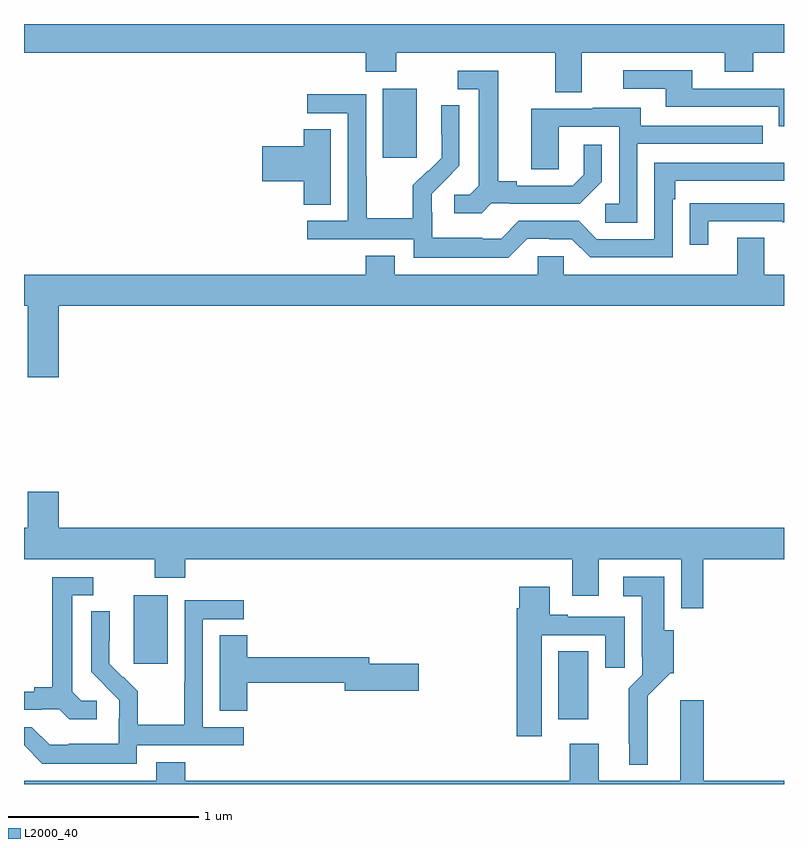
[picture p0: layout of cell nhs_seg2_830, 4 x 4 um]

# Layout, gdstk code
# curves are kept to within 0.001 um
import gdstk
lib = gdstk.Library(unit=1e-6, precision=1e-09)
def R(c, l, rs):  # rectangles x0, y0, x1, y1
    for r in rs: c.add(gdstk.rectangle(r[:2], r[2:], *l))
def P(c, l, *ps):  # polygons
    for p in ps: c.add(gdstk.Polygon(p, *l))
L2000_40 = (2000, 40)

nhs_seg2_830 = lib.new_cell('nhs_seg2_830')
R(nhs_seg2_830, L2000_40, [(155.813,632.142,155.971,632.498), (153.578,632.433,153.757,632.794), (154.889,635.097,155.068,635.458)])
P(nhs_seg2_830, L2000_40, [(155.935,635.648),(156.689,635.648),(156.689,635.549),(156.837,635.549),(156.837,635.648),(157,635.648),(157,635.8),(153,635.8),(153,635.648),(154.799,635.648),(154.799,635.549),(154.959,635.549),(154.959,635.648),(155.795,635.648),(155.795,635.44),(155.935,635.44)],
  [(157,635.46),(156.517,635.46),(156.517,635.556),(156.153,635.556),(156.153,635.46),(156.377,635.46),(156.377,635.364),(156.972,635.364),(156.972,635.261),(157,635.261)],
  [(155.46,634.857),(155.554,634.857),(155.554,634.854),(155.926,634.854),(156.042,634.97),(156.042,635.164),(155.945,635.164),(155.945,635.007),(155.888,634.95),(155.593,634.95),(155.593,634.973),(155.497,634.973),(155.497,635.553),(155.283,635.553),(155.283,635.457),(155.393,635.457),(155.393,634.949),(155.346,634.902),(155.265,634.902),(155.265,634.805),(155.408,634.805)],
  [(155.649,634.671),(155.765,634.671),(155.765,634.668),(155.883,634.668),(155.979,634.572),(156.414,634.572),(156.414,634.877),(156.427,634.877),(156.427,634.974),(157,634.974),(157,635.07),(156.318,635.07),(156.318,634.668),(156.015,634.668),(155.919,634.764),(155.604,634.764),(155.511,634.671),(155.411,634.671),(155.411,634.675),(155.148,634.675),(155.148,634.809),(155.146,634.809),(155.146,634.906),(155.292,635.054),(155.292,635.372),(155.196,635.372),(155.196,635.218),(155.198,635.218),(155.198,635.096),(155.127,635.025),(155.124,635.028),(155.047,634.951),(155.047,634.777),(154.803,634.777),(154.803,635),(154.8,635),(154.8,635.43),(154.491,635.43),(154.491,635.331),(154.704,635.331),(154.704,634.764),(154.491,634.764),(154.491,634.668),(155.052,634.668),(155.052,634.571),(155.549,634.571)],
  [(156.228,635.169),(156.887,635.169),(156.887,635.265),(156.247,635.265),(156.247,635.359),(155.993,635.359),(155.993,635.355),(155.669,635.355),(155.669,635.035),(155.814,635.035),(155.814,635.259),(156.132,635.259),(156.132,634.854),(156.06,634.854),(156.06,634.753),(156.228,634.753)],
  [(154.615,635.246),(154.472,635.246),(154.472,635.156),(154.254,635.156),(154.254,634.973),(154.472,634.973),(154.472,634.849),(154.615,634.849)],
  [(156.601,634.761),(156.991,634.761),(156.991,634.756),(157,634.756),(157,634.857),(156.607,634.857),(156.607,634.856),(156.505,634.856),(156.505,634.638),(156.601,634.638)],
  [(153.184,634.316),(157,634.316),(157,634.48),(156.895,634.48),(156.895,634.675),(156.755,634.675),(156.755,634.48),(155.841,634.48),(155.841,634.578),(155.703,634.578),(155.703,634.48),(154.951,634.48),(154.951,634.579),(154.799,634.579),(154.799,634.48),(153,634.48),(153,634.316),(153.02,634.316),(153.02,633.942),(153.184,633.942)],
  [(156.575,632.984),(157,632.984),(157,633.148),(153.184,633.148),(153.184,633.337),(153.02,633.337),(153.02,633.148),(153,633.148),(153,632.984),(153.688,632.984),(153.688,632.885),(153.848,632.885),(153.848,632.984),(155.885,632.984),(155.885,632.79),(156.025,632.79),(156.025,632.984),(156.459,632.984),(156.459,632.724),(156.575,632.724)],
  [(156.283,632.264),(156.401,632.382),(156.421,632.382),(156.421,632.61),(156.37,632.61),(156.37,632.89),(156.153,632.89),(156.153,632.789),(156.251,632.789),(156.251,632.47),(156.255,632.47),(156.255,632.376),(156.182,632.303),(156.182,632.011),(156.185,632.011),(156.185,631.901),(156.283,631.901)],
  [(153.382,632.238),(153.3,632.238),(153.253,632.285),(153.253,632.793),(153.364,632.793),(153.364,632.889),(153.149,632.889),(153.149,632.309),(153.053,632.309),(153.053,632.286),(153,632.286),(153,632.19),(153.092,632.19),(153.092,632.193),(153.186,632.193),(153.238,632.141),(153.382,632.141)],
  [(155.725,632.583),(156.059,632.583),(156.059,632.412),(156.163,632.412),(156.163,632.679),(155.863,632.679),(155.863,632.692),(155.767,632.692),(155.767,632.839),(155.606,632.839),(155.606,632.726),(155.594,632.726),(155.594,632.052),(155.725,632.052)],
  [(153.594,632.004),(154.156,632.004),(154.156,632.1),(153.942,632.1),(153.942,632.667),(154.156,632.667),(154.156,632.766),(153.846,632.766),(153.846,632.336),(153.844,632.336),(153.844,632.113),(153.599,632.113),(153.599,632.287),(153.522,632.364),(153.519,632.361),(153.449,632.432),(153.45,632.708),(153.354,632.708),(153.354,632.39),(153.5,632.242),(153.5,632.145),(153.498,632.145),(153.498,632.011),(153.235,632.011),(153.235,632.007),(153.135,632.007),(153.042,632.1),(153,632.1),(153,632.004),(153.097,631.907),(153.594,631.907)],
  [(154.175,632.332),(154.688,632.332),(154.688,632.29),(155.077,632.29),(155.077,632.432),(154.816,632.432),(154.816,632.468),(154.175,632.468),(154.175,632.582),(154.031,632.582),(154.031,632.185),(154.175,632.185)],
  [(157,631.816),(156.578,631.816),(156.578,632.242),(156.455,632.242),(156.455,631.816),(156.025,631.816),(156.025,632.011),(155.873,632.011),(155.873,631.816),(153.848,631.816),(153.848,631.915),(153.695,631.915),(153.695,631.816),(153,631.816),(153,631.8),(157,631.8)])

lib.write_gds('nhs_seg2_830.gds')
